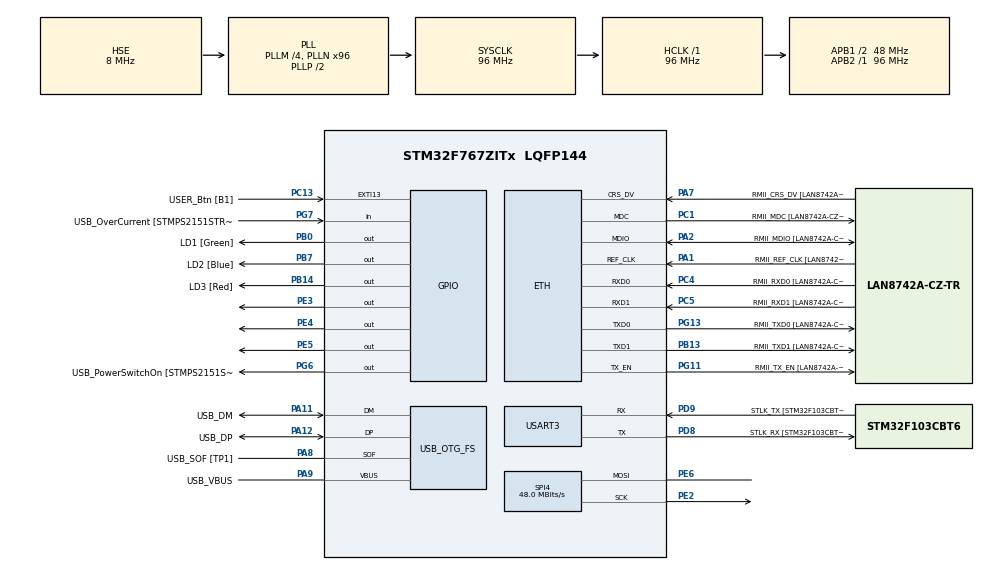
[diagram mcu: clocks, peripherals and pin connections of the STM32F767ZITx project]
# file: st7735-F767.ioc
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Mcu.Family=STM32F7
RCC.CortexFreq_Value=96000000
SPI4.VirtualType=VM_MASTER
PG6.Signal=GPIO_Output
PB14.GPIO_Label=LD3 [Red]
PG6.GPIO_Label=USB_PowerSwitchOn [STMPS2151STR_EN]
PA14.GPIO_Label=TCK
RCC.SYSCLKSourceVirtual=RCC_SYSCLKSOURCE_PLLCLK
SPI4.Direction=SPI_DIRECTION_1LINE
PA11.Mode=Device_Only
PB0.GPIO_Label=LD1 [Green]
PC14/OSC32_IN.Mode=LSE-External-Oscillator
PC5.Mode=RMII
PC13.GPIO_Label=USER_Btn [B1]
PB13.GPIO_Label=RMII_TXD1 [LAN8742A-CZ-TR_TXD1]
PB13.Signal=ETH_TXD1
PG13.Signal=ETH_TXD0
PD9.Mode=Asynchronous
PG11.Signal=ETH_TX_EN
RCC.SYSCLKSource=RCC_SYSCLKSOURCE_PLLCLK
ProjectManager.StackSize=0x400
USART3.VirtualMode-Asynchronous=VM_ASYNC
PA12.Signal=USB_OTG_FS_DP
SPI4.Mode=SPI_MODE_MASTER
ETH.PHY_Value=0
PH0/OSC_IN.Mode=HSE-External-Clock-Source
RCC.HCLKFreq_Value=96000000
PE2.Mode=Simplex_Bidirectional_Master
RCC.APB2TimFreq_Value=96000000
PH1/OSC_OUT.Signal=RCC_OSC_OUT
PD8.Signal=USART3_TX
PE5.Signal=GPIO_Output
RCC.AHBFreq_Value=96000000
RCC.HSE_VALUE=8000000
RCC.PLLMUL=RCC_PLL_MUL9
PC4.GPIO_Label=RMII_RXD0 [LAN8742A-CZ-TR_RXD0]
PA14.Mode=Serial_Wire
PA10.GPIO_Label=USB_ID
PE2.Signal=SPI4_SCK
PB7.Signal=GPIO_Output
PA8.Signal=USB_OTG_FS_SOF
PG13.Mode=RMII
ETH.PHY_Name=LAN8742A_PHY_ADDRESS
PE4.Signal=GPIO_Output
PH1/OSC_OUT.Mode=HSE-External-Clock-Source
PB7.GPIO_Label=LD2 [Blue]
Mcu.Package=LQFP144
PC14/OSC32_IN.Signal=RCC_OSC32_IN
PA2.GPIO_Label=RMII_MDIO [LAN8742A-CZ-TR_MDIO]
PA10.Signal=USB_OTG_FS_ID
USB_OTG_FS.VirtualMode=Device_Only
RCC.APB1TimFreq_Value=96000000
PG11.GPIO_Label=RMII_TX_EN [LAN8742A-CZ-TR_TXEN]
PC5.Signal=ETH_RXD1
PB13.Mode=RMII
PC4.Mode=RMII
PB3.GPIO_Label=SWO
PA7.Mode=RMII
PG7.Signal=GPIO_Input
PD9.GPIO_Label=STLK_TX [STM32F103CBT6_PA2]
SPI4.DataSize=SPI_DATASIZE_8BIT
PC13.Signal=GPXTI13
PA9.GPIO_Label=USB_VBUS
PC4.Signal=ETH_RXD0
PA11.GPIO_Label=USB_DM
PD9.Signal=USART3_RX
RCC.APB1CLKDivider=RCC_HCLK_DIV2
PG13.GPIO_Label=RMII_TXD0 [LAN8742A-CZ-TR_TXD0]
ETH.PhyAddress=0
PA12.GPIO_Label=USB_DP
PD8.GPIO_Label=STLK_RX [STM32F103CBT6_PA3]
PA13.Signal=SYS_JTMS-SWDIO
PA9.Mode=Activate_VBUS
PA8.GPIO_Label=USB_SOF [TP1]
ProjectManager.TargetToolchain=TrueSTUDIO
PA9.Signal=USB_OTG_FS_VBUS
RCC.USBFreq_Value=48000000
PD8.Mode=Asynchronous
PA1.Signal=ETH_REF_CLK
PB14.Signal=GPIO_Output
board=NUCLEO-F767ZI
RCC.VCOOutputFreq_Value=192000000
PH0/OSC_IN.Signal=RCC_OSC_IN
RCC.APB2Freq_Value=96000000
PA1.Mode=RMII
PE6.Mode=Simplex_Bidirectional_Master
RCC.PRESCALERUSB=RCC_USBCLKSOURCE_PLL_DIV1_5
PG7.GPIO_Label=USB_OverCurrent [STMPS2151STR_FAULT]
PA1.GPIO_Label=RMII_REF_CLK [LAN8742A-CZ-TR_REFCLK0]
PC1.GPIO_Label=RMII_MDC [LAN8742A-CZ-TR_MDC]
SPI4.CalculateBaudRate=48.0 MBits/s
PE6.Signal=SPI4_MOSI
PA13.Mode=Serial_Wire
Mcu.Name=STM32F767ZITx
PA2.Signal=ETH_MDIO
PA13.GPIO_Label=TMS
RCC.48MHZClocksFreq_Value=24000000
PB3.Signal=SYS_JTDO-SWO
RCC.SYSCLKFreq_VALUE=96000000
ETH.MediaInterface=ETH_MEDIA_INTERFACE_RMII
PA7.GPIO_Label=RMII_CRS_DV [LAN8742A-CZ-TR_CRS_DV]
PA12.Mode=Device_Only
PC5.GPIO_Label=RMII_RXD1 [LAN8742A-CZ-TR_RXD1]
PC15/OSC32_OUT.Mode=LSE-External-Oscillator
PG11.Mode=RMII
PA11.Signal=USB_OTG_FS_DM
PA14.Signal=SYS_JTCK-SWCLK
ProjectManager.HeapSize=0x200
RCC.HSI_VALUE=16000000
PH0/OSC_IN.GPIO_Label=MCO [STM32F103CBT6_PA8]
RCC.PLLQ=4
NVIC.PriorityGroup=NVIC_PRIORITYGROUP_4
RCC.PLLM=4
RCC.PLLN=96
PE3.Signal=GPIO_Output
PA2.Mode=RMII
PC15/OSC32_OUT.Signal=RCC_OSC32_OUT
PA8.Mode=Activate_SOF_FS
RCC.APB1Freq_Value=48000000
PB0.Signal=GPIO_Output
PC1.Signal=ETH_MDC
PC1.Mode=RMII
PA7.Signal=ETH_CRS_DV

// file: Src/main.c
/* USER CODE BEGIN Header */
/**
  ******************************************************************************
  * @file           : main.c
  * @brief          : Main program body
  ******************************************************************************
  * @attention
  *
  * <h2><center>&copy; Copyright (c) 2020 STMicroelectronics.
  * All rights reserved.</center></h2>
  *
  * This software component is licensed by ST under BSD 3-Clause license,
  * the "License"; You may not use this file except in compliance with the
  * License. You may obtain a copy of the License at:
  *                        opensource.org/licenses/BSD-3-Clause
  *
  ******************************************************************************
  */
/* USER CODE END Header */

#include "main.h"

/* USER CODE BEGIN Includes */
#include <string.h>
#include "st7735.h"
#include "fonts.h"
#include "testimg.h"
/* USER CODE END Includes */

ETH_HandleTypeDef heth;

SPI_HandleTypeDef hspi4;

UART_HandleTypeDef huart3;

PCD_HandleTypeDef hpcd_USB_OTG_FS;

void SystemClock_Config(void);
static void MX_GPIO_Init(void);
static void MX_ETH_Init(void);
static void MX_SPI4_Init(void);
static void MX_USART3_UART_Init(void);
static void MX_USB_OTG_FS_PCD_Init(void);

/* USER CODE BEGIN 0 */

void init() {
    ST7735_Init();

    const char ready[] = "Ready!\r\n";
    HAL_UART_Transmit(&huart3, (uint8_t*)ready, sizeof(ready)-1, HAL_MAX_DELAY);
}

void loop() {
    // Check border
    ST7735_FillScreen(ST7735_BLACK);

    for(int x = 0; x < ST7735_WIDTH; x++) {
        ST7735_DrawPixel(x, 0, ST7735_RED);
        ST7735_DrawPixel(x, ST7735_HEIGHT-1, ST7735_RED);
    }

    for(int y = 0; y < ST7735_HEIGHT; y++) {
        ST7735_DrawPixel(0, y, ST7735_RED);
        ST7735_DrawPixel(ST7735_WIDTH-1, y, ST7735_RED);
    }

    HAL_Delay(3000);

    // Check fonts
    ST7735_FillScreen(ST7735_BLACK);
    ST7735_WriteString(0, 0, "Font_7x10, red on black, lorem ipsum dolor sit amet", Font_7x10, ST7735_RED, ST7735_BLACK);
    ST7735_WriteString(0, 3*10, "Font_11x18, green, lorem ipsum", Font_11x18, ST7735_GREEN, ST7735_BLACK);
    ST7735_WriteString(0, 3*10+3*18, "Font_16x26", Font_16x26, ST7735_BLUE, ST7735_BLACK);
    HAL_Delay(2000);

    // Check colors
    ST7735_FillScreen(ST7735_BLACK);
    ST7735_WriteString(0, 0, "BLACK", Font_11x18, ST7735_WHITE, ST7735_BLACK);
    HAL_Delay(500);

    ST7735_FillScreen(ST7735_BLUE);
    ST7735_WriteString(0, 0, "BLUE", Font_11x18, ST7735_BLACK, ST7735_BLUE);
    HAL_Delay(500);

    ST7735_FillScreen(ST7735_RED);
    ST7735_WriteString(0, 0, "RED", Font_11x18, ST7735_BLACK, ST7735_RED);
    HAL_Delay(500);

    ST7735_FillScreen(ST7735_GREEN);
    ST7735_WriteString(0, 0, "GREEN", Font_11x18, ST7735_BLACK, ST7735_GREEN);
    HAL_Delay(500);

    ST7735_FillScreen(ST7735_CYAN);
    ST7735_WriteString(0, 0, "CYAN", Font_11x18, ST7735_BLACK, ST7735_CYAN);
    HAL_Delay(500);

    ST7735_FillScreen(ST7735_MAGENTA);
    ST7735_WriteString(0, 0, "MAGENTA", Font_11x18, ST7735_BLACK, ST7735_MAGENTA);
    HAL_Delay(500);

    ST7735_FillScreen(ST7735_YELLOW);
    ST7735_WriteString(0, 0, "YELLOW", Font_11x18, ST7735_BLACK, ST7735_YELLOW);
    HAL_Delay(500);

    ST7735_FillScreen(ST7735_WHITE);
    ST7735_WriteString(0, 0, "WHITE", Font_11x18, ST7735_BLACK, ST7735_WHITE);
    HAL_Delay(500);

#ifdef ST7735_IS_128X128
    // Display test image 128x128
    ST7735_DrawImage(0, 0, ST7735_WIDTH, ST7735_HEIGHT, (uint16_t*)test_img_128x128);
    ST7735_WriteString(0, 0, "hello Mohamed", Font_11x18, ST7735_BLACK, ST7735_YELLOW);
    HAL_Delay(500);
/*
    // Display test image 128x128 pixel by pixel
    for(int x = 0; x < ST7735_WIDTH; x++) {
        for(int y = 0; y < ST7735_HEIGHT; y++) {
            uint16_t color565 = test_img_128x128[y][x];
            // fix endiness
            color565 = ((color565 & 0xFF00) >> 8) | ((color565 & 0xFF) << 8);
            ST7735_DrawPixel(x, y, color565);
        }
    }
*/
    HAL_Delay(15000);
#endif // ST7735_IS_128X128

}

/* USER CODE END 0 */

int main(void)
{

  /* MCU Configuration--------------------------------------------------------*/

  /* Reset of all peripherals, Initializes the Flash interface and the Systick. */
  HAL_Init();

  /* Configure the system clock */
  SystemClock_Config();

  /* Initialize all configured peripherals */
  MX_GPIO_Init();
  MX_ETH_Init();
  MX_SPI4_Init();
  MX_USART3_UART_Init();
  MX_USB_OTG_FS_PCD_Init();
  /* USER CODE BEGIN 2 */
  init();

  /* USER CODE END 2 */

  /* Infinite loop */
  /* USER CODE BEGIN WHILE */
  while (1)
  {
	    loop();

    /* USER CODE END WHILE */

  }
}

void SystemClock_Config(void)
{
  RCC_OscInitTypeDef RCC_OscInitStruct = {0};
  RCC_ClkInitTypeDef RCC_ClkInitStruct = {0};
  RCC_PeriphCLKInitTypeDef PeriphClkInitStruct = {0};

  /** Configure LSE Drive Capability
  */
  HAL_PWR_EnableBkUpAccess();
  /** Configure the main internal regulator output voltage
  */
  __HAL_RCC_PWR_CLK_ENABLE();
  __HAL_PWR_VOLTAGESCALING_CONFIG(PWR_REGULATOR_VOLTAGE_SCALE3);
  /** Initializes the CPU, AHB and APB busses clocks
  */
  RCC_OscInitStruct.OscillatorType = RCC_OSCILLATORTYPE_HSE;
  RCC_OscInitStruct.HSEState = RCC_HSE_BYPASS;
  RCC_OscInitStruct.PLL.PLLState = RCC_PLL_ON;
  RCC_OscInitStruct.PLL.PLLSource = RCC_PLLSOURCE_HSE;
  RCC_OscInitStruct.PLL.PLLM = 4;
  RCC_OscInitStruct.PLL.PLLN = 96;
  RCC_OscInitStruct.PLL.PLLP = RCC_PLLP_DIV2;
  RCC_OscInitStruct.PLL.PLLQ = 4;
  if (HAL_RCC_OscConfig(&RCC_OscInitStruct) != HAL_OK)
  {
    Error_Handler();
  }
  /** Activate the Over-Drive mode
  */
  if (HAL_PWREx_EnableOverDrive() != HAL_OK)
  {
    Error_Handler();
  }
  /** Initializes the CPU, AHB and APB busses clocks
  */
  RCC_ClkInitStruct.ClockType = RCC_CLOCKTYPE_HCLK|RCC_CLOCKTYPE_SYSCLK
                              |RCC_CLOCKTYPE_PCLK1|RCC_CLOCKTYPE_PCLK2;
  RCC_ClkInitStruct.SYSCLKSource = RCC_SYSCLKSOURCE_PLLCLK;
  RCC_ClkInitStruct.AHBCLKDivider = RCC_SYSCLK_DIV1;
  RCC_ClkInitStruct.APB1CLKDivider = RCC_HCLK_DIV2;
  RCC_ClkInitStruct.APB2CLKDivider = RCC_HCLK_DIV1;

  if (HAL_RCC_ClockConfig(&RCC_ClkInitStruct, FLASH_LATENCY_3) != HAL_OK)
  {
    Error_Handler();
  }
  PeriphClkInitStruct.PeriphClockSelection = RCC_PERIPHCLK_USART3|RCC_PERIPHCLK_CLK48;
  PeriphClkInitStruct.Usart3ClockSelection = RCC_USART3CLKSOURCE_PCLK1;
  PeriphClkInitStruct.Clk48ClockSelection = RCC_CLK48SOURCE_PLL;
  if (HAL_RCCEx_PeriphCLKConfig(&PeriphClkInitStruct) != HAL_OK)
  {
    Error_Handler();
  }
}

static void MX_ETH_Init(void)
{

  heth.Instance = ETH;
  heth.Init.AutoNegotiation = ETH_AUTONEGOTIATION_ENABLE;
  heth.Init.PhyAddress = LAN8742A_PHY_ADDRESS;
  heth.Init.MACAddr[0] =   0x00;
  heth.Init.MACAddr[1] =   0x80;
  heth.Init.MACAddr[2] =   0xE1;
  heth.Init.MACAddr[3] =   0x00;
  heth.Init.MACAddr[4] =   0x00;
  heth.Init.MACAddr[5] =   0x00;
  heth.Init.RxMode = ETH_RXPOLLING_MODE;
  heth.Init.ChecksumMode = ETH_CHECKSUM_BY_HARDWARE;
  heth.Init.MediaInterface = ETH_MEDIA_INTERFACE_RMII;

  if (HAL_ETH_Init(&heth) != HAL_OK)
  {
    Error_Handler();
  }

}

static void MX_SPI4_Init(void)
{

  /* SPI4 parameter configuration*/
  hspi4.Instance = SPI4;
  hspi4.Init.Mode = SPI_MODE_MASTER;
  hspi4.Init.Direction = SPI_DIRECTION_1LINE;
  hspi4.Init.DataSize = SPI_DATASIZE_8BIT;
  hspi4.Init.CLKPolarity = SPI_POLARITY_LOW;
  hspi4.Init.CLKPhase = SPI_PHASE_1EDGE;
  hspi4.Init.NSS = SPI_NSS_SOFT;
  hspi4.Init.BaudRatePrescaler = SPI_BAUDRATEPRESCALER_4;
  hspi4.Init.FirstBit = SPI_FIRSTBIT_MSB;
  hspi4.Init.TIMode = SPI_TIMODE_DISABLE;
  hspi4.Init.CRCCalculation = SPI_CRCCALCULATION_DISABLE;
  hspi4.Init.CRCPolynomial = 7;
  hspi4.Init.CRCLength = SPI_CRC_LENGTH_DATASIZE;
  hspi4.Init.NSSPMode = SPI_NSS_PULSE_ENABLE;
  if (HAL_SPI_Init(&hspi4) != HAL_OK)
  {
    Error_Handler();
  }

}

static void MX_USART3_UART_Init(void)
{

  huart3.Instance = USART3;
  huart3.Init.BaudRate = 115200;
  huart3.Init.WordLength = UART_WORDLENGTH_8B;
  huart3.Init.StopBits = UART_STOPBITS_1;
  huart3.Init.Parity = UART_PARITY_NONE;
  huart3.Init.Mode = UART_MODE_TX_RX;
  huart3.Init.HwFlowCtl = UART_HWCONTROL_NONE;
  huart3.Init.OverSampling = UART_OVERSAMPLING_16;
  huart3.Init.OneBitSampling = UART_ONE_BIT_SAMPLE_DISABLE;
  huart3.AdvancedInit.AdvFeatureInit = UART_ADVFEATURE_NO_INIT;
  if (HAL_UART_Init(&huart3) != HAL_OK)
  {
    Error_Handler();
  }

}

static void MX_USB_OTG_FS_PCD_Init(void)
{

  hpcd_USB_OTG_FS.Instance = USB_OTG_FS;
  hpcd_USB_OTG_FS.Init.dev_endpoints = 6;
  hpcd_USB_OTG_FS.Init.speed = PCD_SPEED_FULL;
  hpcd_USB_OTG_FS.Init.dma_enable = DISABLE;
  hpcd_USB_OTG_FS.Init.phy_itface = PCD_PHY_EMBEDDED;
  hpcd_USB_OTG_FS.Init.Sof_enable = ENABLE;
  hpcd_USB_OTG_FS.Init.low_power_enable = DISABLE;
  hpcd_USB_OTG_FS.Init.lpm_enable = DISABLE;
  hpcd_USB_OTG_FS.Init.vbus_sensing_enable = ENABLE;
  hpcd_USB_OTG_FS.Init.use_dedicated_ep1 = DISABLE;
  if (HAL_PCD_Init(&hpcd_USB_OTG_FS) != HAL_OK)
  {
    Error_Handler();
  }

}

static void MX_GPIO_Init(void)
{
  GPIO_InitTypeDef GPIO_InitStruct = {0};

  /* GPIO Ports Clock Enable */
  __HAL_RCC_GPIOE_CLK_ENABLE();
  __HAL_RCC_GPIOC_CLK_ENABLE();
  __HAL_RCC_GPIOH_CLK_ENABLE();
  __HAL_RCC_GPIOA_CLK_ENABLE();
  __HAL_RCC_GPIOB_CLK_ENABLE();
  __HAL_RCC_GPIOD_CLK_ENABLE();
  __HAL_RCC_GPIOG_CLK_ENABLE();

  /*Configure GPIO pin Output Level */
  HAL_GPIO_WritePin(GPIOE, GPIO_PIN_3|GPIO_PIN_4|GPIO_PIN_5, GPIO_PIN_RESET);

  /*Configure GPIO pin Output Level */
  HAL_GPIO_WritePin(GPIOB, LD1_Pin|LD3_Pin|LD2_Pin, GPIO_PIN_RESET);

  /*Configure GPIO pin Output Level */
  HAL_GPIO_WritePin(USB_PowerSwitchOn_GPIO_Port, USB_PowerSwitchOn_Pin, GPIO_PIN_RESET);

  /*Configure GPIO pins : PE3 PE4 PE5 */
  GPIO_InitStruct.Pin = GPIO_PIN_3|GPIO_PIN_4|GPIO_PIN_5;
  GPIO_InitStruct.Mode = GPIO_MODE_OUTPUT_PP;
  GPIO_InitStruct.Pull = GPIO_NOPULL;
  GPIO_InitStruct.Speed = GPIO_SPEED_FREQ_LOW;
  HAL_GPIO_Init(GPIOE, &GPIO_InitStruct);

  /*Configure GPIO pin : USER_Btn_Pin */
  GPIO_InitStruct.Pin = USER_Btn_Pin;
  GPIO_InitStruct.Mode = GPIO_MODE_IT_RISING;
  GPIO_InitStruct.Pull = GPIO_NOPULL;
  HAL_GPIO_Init(USER_Btn_GPIO_Port, &GPIO_InitStruct);

  /*Configure GPIO pins : LD1_Pin LD3_Pin LD2_Pin */
  GPIO_InitStruct.Pin = LD1_Pin|LD3_Pin|LD2_Pin;
  GPIO_InitStruct.Mode = GPIO_MODE_OUTPUT_PP;
  GPIO_InitStruct.Pull = GPIO_NOPULL;
  GPIO_InitStruct.Speed = GPIO_SPEED_FREQ_LOW;
  HAL_GPIO_Init(GPIOB, &GPIO_InitStruct);

  /*Configure GPIO pin : USB_PowerSwitchOn_Pin */
  GPIO_InitStruct.Pin = USB_PowerSwitchOn_Pin;
  GPIO_InitStruct.Mode = GPIO_MODE_OUTPUT_PP;
  GPIO_InitStruct.Pull = GPIO_NOPULL;
  GPIO_InitStruct.Speed = GPIO_SPEED_FREQ_LOW;
  HAL_GPIO_Init(USB_PowerSwitchOn_GPIO_Port, &GPIO_InitStruct);

  /*Configure GPIO pin : USB_OverCurrent_Pin */
  GPIO_InitStruct.Pin = USB_OverCurrent_Pin;
  GPIO_InitStruct.Mode = GPIO_MODE_INPUT;
  GPIO_InitStruct.Pull = GPIO_NOPULL;
  HAL_GPIO_Init(USB_OverCurrent_GPIO_Port, &GPIO_InitStruct);

}

void Error_Handler(void)
{
}

/************************ (C) COPYRIGHT STMicroelectronics *****END OF FILE****/
